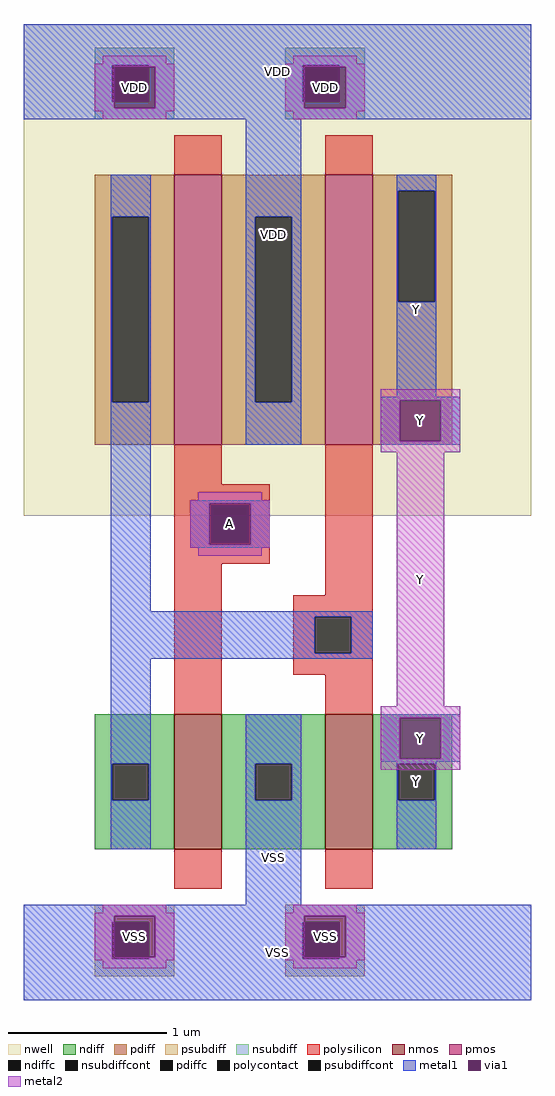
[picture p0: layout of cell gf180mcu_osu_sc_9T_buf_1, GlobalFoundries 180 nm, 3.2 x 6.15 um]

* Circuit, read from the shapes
.subckt gf180mcu_osu_sc_9T_buf_1 A Y VDD VSS
XM1 VSS A n1 VSS nfet_03v3 w=0.85u l=0.3u
XM2 Y n1 VSS VSS nfet_03v3 w=0.85u l=0.3u
XM3 VDD A n1 VDD pfet_03v3 w=1.7u l=0.3u
XM4 Y n1 VDD VDD pfet_03v3 w=1.7u l=0.3u
.ends

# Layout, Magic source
magic
tech gf180mcuC
magscale 1 10
<< nwell >>
rect 0 610 640 1230
<< nmos >>
rect 190 190 250 360
rect 380 190 440 360
<< pmos >>
rect 190 700 250 1040
rect 380 700 440 1040
<< ndiff >>
rect 90 298 190 360
rect 90 252 112 298
rect 158 252 190 298
rect 90 190 190 252
rect 250 298 380 360
rect 250 252 292 298
rect 338 252 380 298
rect 250 190 380 252
rect 440 298 540 360
rect 440 252 472 298
rect 518 252 540 298
rect 440 190 540 252
<< pdiff >>
rect 90 987 190 1040
rect 90 753 112 987
rect 158 753 190 987
rect 90 700 190 753
rect 250 987 380 1040
rect 250 753 292 987
rect 338 753 380 987
rect 250 700 380 753
rect 440 1020 540 1040
rect 440 880 472 1020
rect 518 880 540 1020
rect 440 700 540 880
<< ndiffc >>
rect 112 252 158 298
rect 292 252 338 298
rect 472 252 518 298
<< pdiffc >>
rect 112 753 158 987
rect 292 753 338 987
rect 472 880 518 1020
<< psubdiff >>
rect 90 98 190 120
rect 90 52 112 98
rect 158 52 190 98
rect 90 30 190 52
rect 330 98 430 120
rect 330 52 352 98
rect 398 52 430 98
rect 330 30 430 52
<< nsubdiff >>
rect 90 1178 190 1200
rect 90 1132 112 1178
rect 158 1132 190 1178
rect 90 1110 190 1132
rect 330 1178 430 1200
rect 330 1132 352 1178
rect 398 1132 430 1178
rect 330 1110 430 1132
<< psubdiffcont >>
rect 112 52 158 98
rect 352 52 398 98
<< nsubdiffcont >>
rect 112 1132 158 1178
rect 352 1132 398 1178
<< polysilicon >>
rect 190 1040 250 1090
rect 380 1040 440 1090
rect 190 650 250 700
rect 190 623 310 650
rect 190 577 237 623
rect 283 577 310 623
rect 190 550 310 577
rect 190 360 250 550
rect 380 510 440 700
rect 340 483 440 510
rect 340 437 367 483
rect 413 437 440 483
rect 340 410 440 437
rect 380 360 440 410
rect 190 140 250 190
rect 380 140 440 190
<< polycontact >>
rect 237 577 283 623
rect 367 437 413 483
<< metal1 >>
rect 0 1178 640 1230
rect 0 1132 112 1178
rect 158 1176 352 1178
rect 398 1176 640 1178
rect 166 1132 352 1176
rect 0 1124 114 1132
rect 166 1124 354 1132
rect 406 1124 640 1176
rect 0 1110 640 1124
rect 110 987 160 1040
rect 110 753 112 987
rect 158 753 160 987
rect 110 490 160 753
rect 280 987 350 1110
rect 280 753 292 987
rect 338 753 350 987
rect 470 1020 520 1040
rect 470 880 472 1020
rect 518 880 520 1020
rect 470 760 520 880
rect 280 700 350 753
rect 450 756 550 760
rect 450 704 474 756
rect 526 704 550 756
rect 450 700 550 704
rect 210 626 310 630
rect 210 574 234 626
rect 286 574 310 626
rect 210 570 310 574
rect 110 483 440 490
rect 110 437 367 483
rect 413 437 440 483
rect 110 430 440 437
rect 110 298 160 430
rect 110 252 112 298
rect 158 252 160 298
rect 110 190 160 252
rect 280 298 350 360
rect 450 356 550 360
rect 450 304 474 356
rect 526 304 550 356
rect 450 300 550 304
rect 280 252 292 298
rect 338 252 350 298
rect 280 120 350 252
rect 470 298 520 300
rect 470 252 472 298
rect 518 252 520 298
rect 470 190 520 252
rect 0 106 640 120
rect 0 98 114 106
rect 166 98 354 106
rect 0 52 112 98
rect 166 54 352 98
rect 406 54 640 106
rect 158 52 352 54
rect 398 52 640 54
rect 0 0 640 52
<< via1 >>
rect 114 1132 158 1176
rect 158 1132 166 1176
rect 354 1132 398 1176
rect 398 1132 406 1176
rect 114 1124 166 1132
rect 354 1124 406 1132
rect 474 704 526 756
rect 234 623 286 626
rect 234 577 237 623
rect 237 577 283 623
rect 283 577 286 623
rect 234 574 286 577
rect 474 304 526 356
rect 114 98 166 106
rect 354 98 406 106
rect 114 54 158 98
rect 158 54 166 98
rect 354 54 398 98
rect 398 54 406 98
<< metal2 >>
rect 100 1180 180 1190
rect 340 1180 420 1190
rect 90 1176 190 1180
rect 90 1124 114 1176
rect 166 1124 190 1176
rect 90 1120 190 1124
rect 330 1176 430 1180
rect 330 1124 354 1176
rect 406 1124 430 1176
rect 330 1120 430 1124
rect 100 1110 180 1120
rect 340 1110 420 1120
rect 450 756 550 770
rect 450 704 474 756
rect 526 704 550 756
rect 450 690 550 704
rect 220 630 300 640
rect 210 626 310 630
rect 210 574 234 626
rect 286 574 310 626
rect 210 570 310 574
rect 220 560 300 570
rect 470 370 530 690
rect 450 356 550 370
rect 450 304 474 356
rect 526 304 550 356
rect 450 290 550 304
rect 100 110 180 120
rect 340 110 420 120
rect 90 106 190 110
rect 90 54 114 106
rect 166 54 190 106
rect 90 50 190 54
rect 330 106 430 110
rect 330 54 354 106
rect 406 54 430 106
rect 330 50 430 54
rect 100 40 180 50
rect 340 40 420 50
<< labels >>
rlabel metal2 s 100 1110 180 1190 4 VDD
port 6 nsew power bidirectional abutment
rlabel metal2 s 100 40 180 120 4 VSS
port 7 nsew ground bidirectional
rlabel metal2 s 220 560 300 640 4 A
port 1 nsew signal input
rlabel metal2 s 470 290 530 770 4 Y
port 2 nsew signal output
rlabel metal2 s 210 570 310 630 1 A
port 1 nsew signal input
rlabel metal1 s 210 570 310 630 1 A
port 1 nsew signal input
rlabel metal2 s 90 1120 190 1180 1 VDD
port 6 nsew power bidirectional abutment
rlabel metal2 s 340 1110 420 1190 1 VDD
port 6 nsew power bidirectional abutment
rlabel metal2 s 330 1120 430 1180 1 VDD
port 6 nsew power bidirectional abutment
rlabel metal1 s 280 700 350 1230 1 VDD
port 6 nsew power bidirectional abutment
rlabel metal1 s 0 1110 640 1230 1 VDD
port 6 nsew power bidirectional abutment
rlabel metal2 s 90 50 190 110 1 VSS
port 7 nsew ground bidirectional
rlabel metal2 s 340 40 420 120 1 VSS
port 7 nsew ground bidirectional
rlabel metal2 s 330 50 430 110 1 VSS
port 7 nsew ground bidirectional
rlabel metal1 s 280 0 350 360 1 VSS
port 7 nsew ground bidirectional
rlabel metal1 s 0 0 640 120 1 VSS
port 7 nsew ground bidirectional
rlabel metal2 s 450 290 550 370 1 Y
port 2 nsew signal output
rlabel metal2 s 450 690 550 770 1 Y
port 2 nsew signal output
rlabel metal1 s 470 700 520 1040 1 Y
port 2 nsew signal output
rlabel metal1 s 450 700 550 760 1 Y
port 2 nsew signal output
rlabel metal1 s 470 190 520 360 1 Y
port 2 nsew signal output
rlabel metal1 s 450 300 550 360 1 Y
port 2 nsew signal output
<< properties >>
string FIXED_BBOX 0 0 640 1230
string GDS_END 60220
string GDS_FILE $PDKPATH/libs.ref/gf180mcu_osu_sc_9T/gds/gf180mcu_osu_sc_9T.gds
string GDS_START 55068
string LEFclass CORE
string LEFsite GF018hv5v_mcu_sc7
string LEFsymmetry X Y
<< end >>
